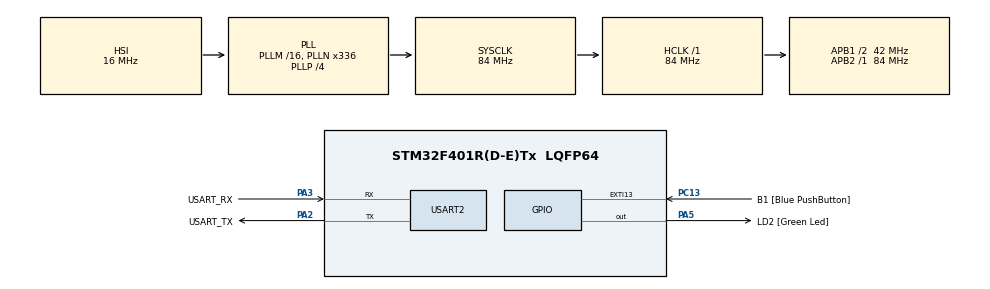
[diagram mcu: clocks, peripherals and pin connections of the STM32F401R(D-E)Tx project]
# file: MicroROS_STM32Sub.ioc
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Dma.Request0=USART2_RX
Dma.Request1=USART2_TX
Dma.USART2_RX.0.Direction=DMA_PERIPH_TO_MEMORY
Dma.USART2_RX.0.FIFOMode=DMA_FIFOMODE_DISABLE
Dma.USART2_RX.0.Instance=DMA1_Stream5
Dma.USART2_RX.0.MemDataAlignment=DMA_MDATAALIGN_BYTE
Dma.USART2_RX.0.MemInc=DMA_MINC_ENABLE
Dma.USART2_RX.0.Mode=DMA_CIRCULAR
Dma.USART2_RX.0.PeriphDataAlignment=DMA_PDATAALIGN_BYTE
Dma.USART2_RX.0.PeriphInc=DMA_PINC_DISABLE
Dma.USART2_RX.0.Priority=DMA_PRIORITY_VERY_HIGH
Dma.USART2_TX.1.Direction=DMA_MEMORY_TO_PERIPH
Dma.USART2_TX.1.FIFOMode=DMA_FIFOMODE_DISABLE
Dma.USART2_TX.1.Instance=DMA1_Stream6
Dma.USART2_TX.1.MemDataAlignment=DMA_MDATAALIGN_BYTE
Dma.USART2_TX.1.MemInc=DMA_MINC_ENABLE
Dma.USART2_TX.1.Mode=DMA_NORMAL
Dma.USART2_TX.1.PeriphDataAlignment=DMA_PDATAALIGN_BYTE
Dma.USART2_TX.1.PeriphInc=DMA_PINC_DISABLE
Dma.USART2_TX.1.Priority=DMA_PRIORITY_VERY_HIGH
FREERTOS.Tasks01=defaultTask,24,3000,StartDefaultTask,Default,NULL,Dynamic,NULL,NULL
Mcu.Family=STM32F4
Mcu.Name=STM32F401R(D-E)Tx
Mcu.Package=LQFP64
NVIC.DMA1_Stream5_IRQn=true\:5\:0\:false\:false\:true\:true\:false\:true\:true
NVIC.DMA1_Stream6_IRQn=true\:5\:0\:false\:false\:true\:true\:false\:true\:true
NVIC.PriorityGroup=NVIC_PRIORITYGROUP_4
NVIC.USART2_IRQn=true\:5\:0\:false\:false\:true\:true\:true\:true\:true
PA13.GPIO_Label=TMS
PA13.Mode=Serial_Wire
PA13.Signal=SYS_JTMS-SWDIO
PA14.GPIO_Label=TCK
PA14.Mode=Serial_Wire
PA14.Signal=SYS_JTCK-SWCLK
PA2.GPIO_Label=USART_TX
PA2.GPIO_Mode=GPIO_MODE_AF_PP
PA2.GPIO_PuPd=GPIO_NOPULL
PA2.GPIO_Speed=GPIO_SPEED_FREQ_LOW
PA2.Mode=Asynchronous
PA2.Signal=USART2_TX
PA3.GPIO_Label=USART_RX
PA3.GPIO_Mode=GPIO_MODE_AF_PP
PA3.GPIO_PuPd=GPIO_NOPULL
PA3.GPIO_Speed=GPIO_SPEED_FREQ_LOW
PA3.Mode=Asynchronous
PA3.Signal=USART2_RX
PA5.GPIO_Label=LD2 [Green Led]
PA5.Signal=GPIO_Output
PB3.GPIO_Label=SWO
PB3.Signal=SYS_JTDO-SWO
PC13-ANTI_TAMP.GPIO_Label=B1 [Blue PushButton]
PC13-ANTI_TAMP.GPIO_ModeDefaultEXTI=GPIO_MODE_IT_FALLING
PC13-ANTI_TAMP.GPIO_PuPd=GPIO_NOPULL
PC13-ANTI_TAMP.Signal=GPXTI13
PC14-OSC32_IN.Mode=LSE-External-Oscillator
PC14-OSC32_IN.Signal=RCC_OSC32_IN
PC15-OSC32_OUT.Mode=LSE-External-Oscillator
PC15-OSC32_OUT.Signal=RCC_OSC32_OUT
PH0\ -\ OSC_IN.Mode=HSE-External-Oscillator
PH0\ -\ OSC_IN.Signal=RCC_OSC_IN
PH1\ -\ OSC_OUT.Mode=HSE-External-Oscillator
PH1\ -\ OSC_OUT.Signal=RCC_OSC_OUT
ProjectManager.HeapSize=0x200
ProjectManager.StackSize=0x400
ProjectManager.TargetToolchain=STM32CubeIDE
RCC.48MHZClocksFreq_Value=48000000
RCC.AHBFreq_Value=84000000
RCC.APB1CLKDivider=RCC_HCLK_DIV2
RCC.APB1Freq_Value=42000000
RCC.APB1TimFreq_Value=84000000
RCC.APB2Freq_Value=84000000
RCC.APB2TimFreq_Value=84000000
RCC.CortexFreq_Value=84000000
RCC.HCLKFreq_Value=84000000
RCC.HSE_VALUE=8000000
RCC.HSI_VALUE=16000000
RCC.PLLN=336
RCC.PLLP=RCC_PLLP_DIV4
RCC.PLLQ=7
RCC.SYSCLKFreq_VALUE=84000000
RCC.SYSCLKSource=RCC_SYSCLKSOURCE_PLLCLK
RCC.VCOOutputFreq_Value=336000000
USART2.VirtualMode=VM_ASYNC
VP_FREERTOS_VS_CMSIS_V2.Mode=CMSIS_V2
board=NUCLEO-F401RE

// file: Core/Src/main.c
/* USER CODE BEGIN Header */
/**
  ******************************************************************************
  * @file           : main.c
  * @brief          : Main program body
  ******************************************************************************
  * @attention
  *
  * Copyright (c) 2024 STMicroelectronics.
  * All rights reserved.
  *
  * This software is licensed under terms that can be found in the LICENSE file
  * in the root directory of this software component.
  * If no LICENSE file comes with this software, it is provided AS-IS.
  *
  ******************************************************************************
  */
/* USER CODE END Header */
#include "main.h"
#include "cmsis_os.h"

/* USER CODE BEGIN Includes */
#include <rcl/rcl.h>
#include <rcl/error_handling.h>
#include <rclc/rclc.h>
#include <rclc/executor.h>
#include <uxr/client/transport.h>
#include <rmw_microxrcedds_c/config.h>
#include <rmw_microros/rmw_microros.h>

#include <std_msgs/msg/int32.h>

/* USER CODE END Includes */

UART_HandleTypeDef huart2;
DMA_HandleTypeDef hdma_usart2_rx;
DMA_HandleTypeDef hdma_usart2_tx;

/* Definitions for defaultTask */
osThreadId_t defaultTaskHandle;
const osThreadAttr_t defaultTask_attributes = {
  .name = "defaultTask",
  .stack_size = 3000 * 4,
  .priority = (osPriority_t) osPriorityNormal,
};

void SystemClock_Config(void);
static void MX_GPIO_Init(void);
static void MX_DMA_Init(void);
static void MX_USART2_UART_Init(void);
void StartDefaultTask(void *argument);

int main(void)
{

  /* MCU Configuration--------------------------------------------------------*/

  /* Reset of all peripherals, Initializes the Flash interface and the Systick. */
  HAL_Init();

  /* Configure the system clock */
  SystemClock_Config();

  /* Initialize all configured peripherals */
  MX_GPIO_Init();
  MX_DMA_Init();
  MX_USART2_UART_Init();

  /* Init scheduler */
  osKernelInitialize();

  /* Create the thread(s) */
  /* creation of defaultTask */
  defaultTaskHandle = osThreadNew(StartDefaultTask, NULL, &defaultTask_attributes);

  /* Start scheduler */
  osKernelStart();

  /* We should never get here as control is now taken by the scheduler */

  /* Infinite loop */
  while (1)
  {
	  StartDefaultTask(NULL);
  }
}

void SystemClock_Config(void)
{
  RCC_OscInitTypeDef RCC_OscInitStruct = {0};
  RCC_ClkInitTypeDef RCC_ClkInitStruct = {0};

  /** Configure the main internal regulator output voltage
  */
  __HAL_RCC_PWR_CLK_ENABLE();
  __HAL_PWR_VOLTAGESCALING_CONFIG(PWR_REGULATOR_VOLTAGE_SCALE2);

  /** Initializes the RCC Oscillators according to the specified parameters
  * in the RCC_OscInitTypeDef structure.
  */
  RCC_OscInitStruct.OscillatorType = RCC_OSCILLATORTYPE_HSI;
  RCC_OscInitStruct.HSIState = RCC_HSI_ON;
  RCC_OscInitStruct.HSICalibrationValue = RCC_HSICALIBRATION_DEFAULT;
  RCC_OscInitStruct.PLL.PLLState = RCC_PLL_ON;
  RCC_OscInitStruct.PLL.PLLSource = RCC_PLLSOURCE_HSI;
  RCC_OscInitStruct.PLL.PLLM = 16;
  RCC_OscInitStruct.PLL.PLLN = 336;
  RCC_OscInitStruct.PLL.PLLP = RCC_PLLP_DIV4;
  RCC_OscInitStruct.PLL.PLLQ = 7;
  if (HAL_RCC_OscConfig(&RCC_OscInitStruct) != HAL_OK)
  {
    Error_Handler();
  }

  /** Initializes the CPU, AHB and APB buses clocks
  */
  RCC_ClkInitStruct.ClockType = RCC_CLOCKTYPE_HCLK|RCC_CLOCKTYPE_SYSCLK
                              |RCC_CLOCKTYPE_PCLK1|RCC_CLOCKTYPE_PCLK2;
  RCC_ClkInitStruct.SYSCLKSource = RCC_SYSCLKSOURCE_PLLCLK;
  RCC_ClkInitStruct.AHBCLKDivider = RCC_SYSCLK_DIV1;
  RCC_ClkInitStruct.APB1CLKDivider = RCC_HCLK_DIV2;
  RCC_ClkInitStruct.APB2CLKDivider = RCC_HCLK_DIV1;

  if (HAL_RCC_ClockConfig(&RCC_ClkInitStruct, FLASH_LATENCY_2) != HAL_OK)
  {
    Error_Handler();
  }
}

static void MX_USART2_UART_Init(void)
{

  huart2.Instance = USART2;
  huart2.Init.BaudRate = 115200;
  huart2.Init.WordLength = UART_WORDLENGTH_8B;
  huart2.Init.StopBits = UART_STOPBITS_1;
  huart2.Init.Parity = UART_PARITY_NONE;
  huart2.Init.Mode = UART_MODE_TX_RX;
  huart2.Init.HwFlowCtl = UART_HWCONTROL_NONE;
  huart2.Init.OverSampling = UART_OVERSAMPLING_16;
  if (HAL_UART_Init(&huart2) != HAL_OK)
  {
    Error_Handler();
  }

}

static void MX_DMA_Init(void)
{

  /* DMA controller clock enable */
  __HAL_RCC_DMA1_CLK_ENABLE();

  /* DMA interrupt init */
  /* DMA1_Stream5_IRQn interrupt configuration */
  HAL_NVIC_SetPriority(DMA1_Stream5_IRQn, 5, 0);
  HAL_NVIC_EnableIRQ(DMA1_Stream5_IRQn);
  /* DMA1_Stream6_IRQn interrupt configuration */
  HAL_NVIC_SetPriority(DMA1_Stream6_IRQn, 5, 0);
  HAL_NVIC_EnableIRQ(DMA1_Stream6_IRQn);

}

static void MX_GPIO_Init(void)
{
  GPIO_InitTypeDef GPIO_InitStruct = {0};

  /* GPIO Ports Clock Enable */
  __HAL_RCC_GPIOC_CLK_ENABLE();
  __HAL_RCC_GPIOH_CLK_ENABLE();
  __HAL_RCC_GPIOA_CLK_ENABLE();
  __HAL_RCC_GPIOB_CLK_ENABLE();

  /*Configure GPIO pin Output Level */
  HAL_GPIO_WritePin(LD2_GPIO_Port, LD2_Pin, GPIO_PIN_RESET);

  /*Configure GPIO pin : B1_Pin */
  GPIO_InitStruct.Pin = B1_Pin;
  GPIO_InitStruct.Mode = GPIO_MODE_IT_FALLING;
  GPIO_InitStruct.Pull = GPIO_NOPULL;
  HAL_GPIO_Init(B1_GPIO_Port, &GPIO_InitStruct);

  /*Configure GPIO pin : LD2_Pin */
  GPIO_InitStruct.Pin = LD2_Pin;
  GPIO_InitStruct.Mode = GPIO_MODE_OUTPUT_PP;
  GPIO_InitStruct.Pull = GPIO_NOPULL;
  GPIO_InitStruct.Speed = GPIO_SPEED_FREQ_LOW;
  HAL_GPIO_Init(LD2_GPIO_Port, &GPIO_InitStruct);

}

/* USER CODE BEGIN 4 */
bool cubemx_transport_open(struct uxrCustomTransport * transport);
bool cubemx_transport_close(struct uxrCustomTransport * transport);
size_t cubemx_transport_write(struct uxrCustomTransport* transport, const uint8_t * buf, size_t len, uint8_t * err);
size_t cubemx_transport_read(struct uxrCustomTransport* transport, uint8_t* buf, size_t len, int timeout, uint8_t* err);

void * microros_allocate(size_t size, void * state);
void microros_deallocate(void * pointer, void * state);
void * microros_reallocate(void * pointer, size_t size, void * state);
void * microros_zero_allocate(size_t number_of_elements, size_t size_of_element, void * state);

void (* rclc_subscription_callback)(const void *);

void subscription_callback(const void * msgin){
	    // Cast received message to used type
	const std_msgs__msg__Int32 * msg= (const std_msgs__msg__Int32 *)msgin;

	    // Process message
	        // Turn ON GPIOA5 (set the pin high)
	if(msg->data >10){
		HAL_GPIO_WritePin(GPIOA,GPIO_PIN_5,1);
	}

}

/* USER CODE END 4 */

void StartDefaultTask(void *argument)
{
  /* USER CODE BEGIN 5 */
	// micro-ROS configuration

	rmw_uros_set_custom_transport(
	        true,
	        (void *) &huart2,
	        cubemx_transport_open,
	        cubemx_transport_close,
	        cubemx_transport_write,
	        cubemx_transport_read);

	    rcl_allocator_t freeRTOS_allocator = rcutils_get_zero_initialized_allocator();
	    freeRTOS_allocator.allocate = microros_allocate;
	    freeRTOS_allocator.deallocate = microros_deallocate;
	    freeRTOS_allocator.reallocate = microros_reallocate;
	    freeRTOS_allocator.zero_allocate = microros_zero_allocate;

	    if (!rcutils_set_default_allocator(&freeRTOS_allocator)) {
	        printf("Error on default allocators (line %d)\n", __LINE__);
	    }

	    // micro-ROS app

	    rcl_subscription_t subscriber;
	    std_msgs__msg__Int32 msg;
	    rclc_support_t support;
	    rclc_executor_t executor;
	    rcl_allocator_t allocator;
	    rcl_node_t node;

	    allocator = rcl_get_default_allocator();

	    // create init_options
	    rclc_support_init(&support, 0, NULL, &allocator);
	    rclc_executor_init(&executor, &support.context, 1, &allocator);

	    // create node
	    rclc_node_init_default(&node, "cubemx_node", "", &support);

	    // create subscription
	    rclc_subscription_init_default(
	        &subscriber,
	        &node,
	        ROSIDL_GET_MSG_TYPE_SUPPORT(std_msgs, msg, Int32),
	        "stm32_topic");
	    rclc_executor_add_subscription(
	      &executor, &subscriber, &msg,
	      &subscription_callback, ON_NEW_DATA);
	    // Spin and wait for messages
    	//rclc_executor_spin(&executor);
	    	rclc_executor_spin(&executor);
	        osDelay(10);
  /* USER CODE END 5 */
}

void Error_Handler(void)
{
  __disable_irq();
  while (1)
  {
  }
}
